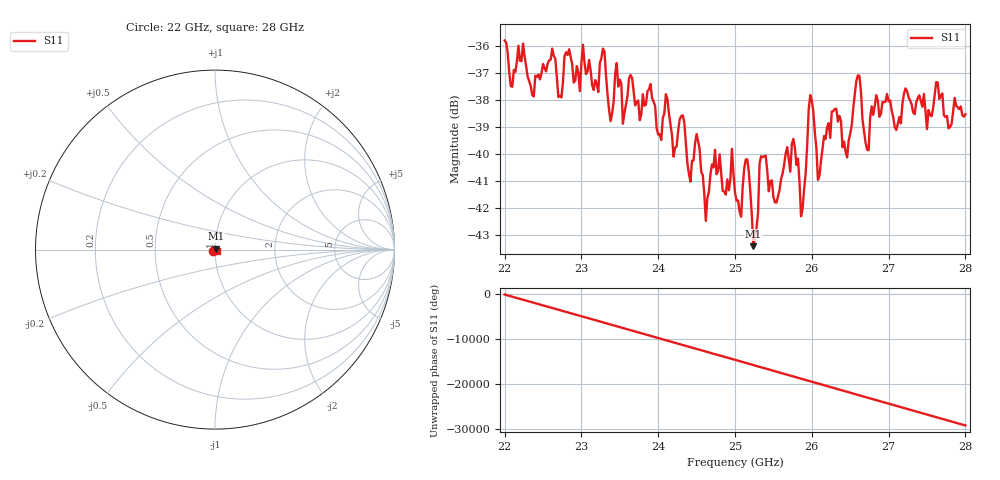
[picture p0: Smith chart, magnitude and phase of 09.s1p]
#  HZ  S  RI  R  50.00
! Rohde & Schwarz ZVA40 4Ports - Version 3.90 - 1145.1110k42 SN: 100403
! Date: 2023-10-04 10:20:29
! Measurement: S12
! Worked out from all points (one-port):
!   301 points, 22 GHz to 28 GHz, reference 50 ohm
!   lowest |S11| = -43.4 dB at 25.24 GHz (marker M1), VSWR 1.01, Z = 50.4 + j0.558 ohm
!   |S11| at or under -10 dB: start of sweep to end of sweep
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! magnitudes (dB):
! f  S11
! 22 GHz  -35.8
! 22.76 GHz  -37.3
! 23.28 GHz  -36.1
! 23.38 GHz  -38.8
! 23.5 GHz  -37.3
! 23.54 GHz  -38.9
! 23.64 GHz  -37.1
! 24.26 GHz  -39.1
! 24.42 GHz  -41.0
! 24.5 GHz  -39.3
! 24.62 GHz  -42.5
! 24.74 GHz  -39.9
! 25 GHz  -41.4
! 25.16 GHz  -40.2
! 25.24 GHz  -43.4
! 25.34 GHz  -40.1
! 25.54 GHz  -41.8
! 25.76 GHz  -39.4
! 25.86 GHz  -42.3
! 25.98 GHz  -37.8
! 26.08 GHz  -41.0
! 26.26 GHz  -38.4
! 26.5 GHz  -39.3
! 26.6 GHz  -37.1
! 26.74 GHz  -39.9
! 26.84 GHz  -37.8
! 27.26 GHz  -37.9
! 28 GHz  -38.5
